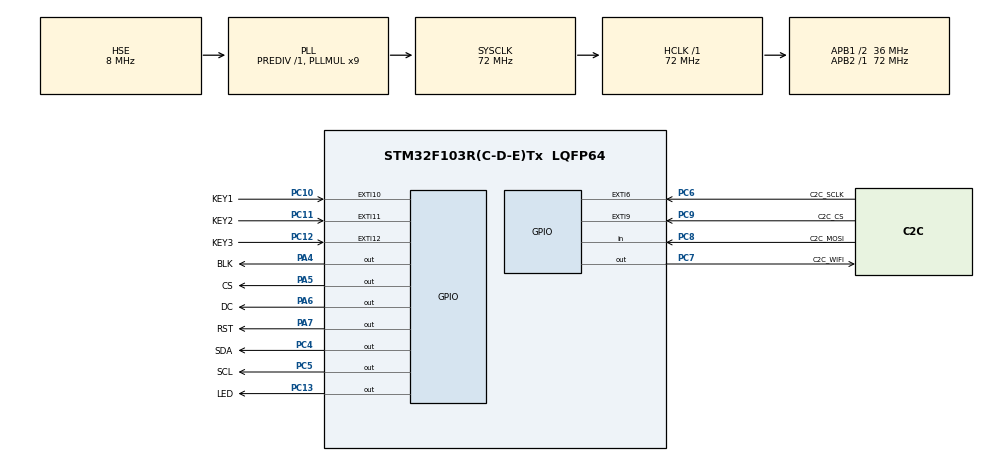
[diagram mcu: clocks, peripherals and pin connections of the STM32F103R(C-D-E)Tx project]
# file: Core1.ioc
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FREERTOS.Mutexes01=LCDMutex,Dynamic,NULL
FREERTOS.Tasks01=DebugTask,24,128,StartDebugTask,Default,NULL,Dynamic,NULL,NULL;InterfaceTask,24,128,StartInterfaceTask,Default,NULL,Dynamic,NULL,NULL;MenuTask,24,128,StartMenuTask,Default,NULL,Dynamic,NULL,NULL;ECGTask,24,128,StartECGTask,Default,NULL,Static,ECGTaskBuffer,ECGTaskControlBlock;WifiTask,24,128,StartWifiTask,Default,NULL,Static,WifiTaskBuffer,WifiTaskControlBlock;SettingTask,24,128,StartSettingTask,Default,NULL,Static,SettingTaskBuffer,SettingTaskControlBlock
Mcu.Family=STM32F1
Mcu.Name=STM32F103R(C-D-E)Tx
Mcu.Package=LQFP64
NVIC.EXTI15_10_IRQn=true\:5\:0\:false\:false\:true\:true\:true\:true\:true
NVIC.EXTI9_5_IRQn=true\:5\:0\:false\:false\:true\:true\:true\:true\:true
NVIC.PriorityGroup=NVIC_PRIORITYGROUP_4
NVIC.TIM6_IRQn=true\:15\:0\:false\:false\:true\:false\:false\:true\:true
NVIC.TimeBase=TIM6_IRQn
NVIC.TimeBaseIP=TIM6
PA0-WKUP.Mode=SYS_WakeUp0
PA0-WKUP.Signal=SYS_WKUP
PA13.Mode=Serial_Wire
PA13.Signal=SYS_JTMS-SWDIO
PA14.Mode=Serial_Wire
PA14.Signal=SYS_JTCK-SWCLK
PA4.GPIO_Label=BLK
PA4.GPIO_Speed=GPIO_SPEED_FREQ_HIGH
PA4.Signal=GPIO_Output
PA5.GPIO_Label=CS
PA5.GPIO_Speed=GPIO_SPEED_FREQ_HIGH
PA5.Signal=GPIO_Output
PA6.GPIO_Label=DC
PA6.GPIO_Speed=GPIO_SPEED_FREQ_HIGH
PA6.Signal=GPIO_Output
PA7.GPIO_Label=RST
PA7.GPIO_Speed=GPIO_SPEED_FREQ_HIGH
PA7.Signal=GPIO_Output
PC10.GPIO_Label=KEY1
PC10.GPIO_ModeDefaultEXTI=GPIO_MODE_IT_FALLING
PC10.Signal=GPXTI10
PC11.GPIO_Label=KEY2
PC11.GPIO_ModeDefaultEXTI=GPIO_MODE_IT_FALLING
PC11.Signal=GPXTI11
PC12.GPIO_Label=KEY3
PC12.GPIO_ModeDefaultEXTI=GPIO_MODE_IT_FALLING
PC12.Signal=GPXTI12
PC13-TAMPER-RTC.GPIO_Label=LED
PC13-TAMPER-RTC.GPIO_Speed=GPIO_SPEED_FREQ_HIGH
PC13-TAMPER-RTC.PinState=GPIO_PIN_RESET
PC13-TAMPER-RTC.Signal=GPIO_Output
PC4.GPIO_Label=SDA
PC4.GPIO_Speed=GPIO_SPEED_FREQ_HIGH
PC4.PinState=GPIO_PIN_RESET
PC4.Signal=GPIO_Output
PC5.GPIO_Label=SCL
PC5.GPIO_Speed=GPIO_SPEED_FREQ_HIGH
PC5.Signal=GPIO_Output
PC6.GPIO_Label=C2C_SCLK
PC6.GPIO_ModeDefaultEXTI=GPIO_MODE_IT_FALLING
PC6.Signal=GPXTI6
PC7.GPIO_Label=C2C_WIFI
PC7.GPIO_Speed=GPIO_SPEED_FREQ_HIGH
PC7.Signal=GPIO_Output
PC8.GPIO_Label=C2C_MOSI
PC8.Signal=GPIO_Input
PC9.GPIO_Label=C2C_CS
PC9.GPIO_ModeDefaultEXTI=GPIO_MODE_IT_FALLING
PC9.Signal=GPXTI9
PD0-OSC_IN.Mode=HSE-External-Oscillator
PD0-OSC_IN.Signal=RCC_OSC_IN
PD1-OSC_OUT.Mode=HSE-External-Oscillator
PD1-OSC_OUT.Signal=RCC_OSC_OUT
ProjectManager.HeapSize=0x200
ProjectManager.StackSize=0x400
ProjectManager.TargetToolchain=MDK-ARM V5.32
RCC.AHBFreq_Value=72000000
RCC.APB1CLKDivider=RCC_HCLK_DIV2
RCC.APB1Freq_Value=36000000
RCC.APB1TimFreq_Value=72000000
RCC.APB2Freq_Value=72000000
RCC.APB2TimFreq_Value=72000000
RCC.HCLKFreq_Value=72000000
RCC.PLLMUL=RCC_PLL_MUL9
RCC.PLLSourceVirtual=RCC_PLLSOURCE_HSE
RCC.SYSCLKFreq_VALUE=72000000
RCC.SYSCLKSource=RCC_SYSCLKSOURCE_PLLCLK
RCC.USBFreq_Value=72000000
VP_FREERTOS_VS_CMSIS_V2.Mode=CMSIS_V2
VP_SYS_VS_tim6.Mode=TIM6
board=custom

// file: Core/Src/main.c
/* USER CODE BEGIN Header */
/**
  ******************************************************************************
  * @file           : main.c
  * @brief          : Main program body
  ******************************************************************************
  * @attention
  *
  * Copyright (c) 2024 STMicroelectronics.
  * All rights reserved.
  *
  * This software is licensed under terms that can be found in the LICENSE file
  * in the root directory of this software component.
  * If no LICENSE file comes with this software, it is provided AS-IS.
  *
  ******************************************************************************
  */
/* USER CODE END Header */
#include "main.h"
#include "cmsis_os.h"
#include "gpio.h"

void SystemClock_Config(void);
void MX_FREERTOS_Init(void);

int main(void)
{

  /* MCU Configuration--------------------------------------------------------*/

  /* Reset of all peripherals, Initializes the Flash interface and the Systick. */
  HAL_Init();

  /* Configure the system clock */
  SystemClock_Config();

  /* Initialize all configured peripherals */
  MX_GPIO_Init();
  /* USER CODE BEGIN 2 */
  LCD_Init();
  LCD_Fill(0, 0, LCD_W, LCD_H, BLACK);

  /* USER CODE END 2 */

  /* Init scheduler */
  osKernelInitialize();

  /* Call init function for freertos objects (in freertos.c) */
  MX_FREERTOS_Init();

  /* Start scheduler */
  osKernelStart();

  /* We should never get here as control is now taken by the scheduler */
  /* Infinite loop */
  while (1)
  {

  }
}

void SystemClock_Config(void)
{
  RCC_OscInitTypeDef RCC_OscInitStruct = {0};
  RCC_ClkInitTypeDef RCC_ClkInitStruct = {0};

  /** Initializes the RCC Oscillators according to the specified parameters
  * in the RCC_OscInitTypeDef structure.
  */
  RCC_OscInitStruct.OscillatorType = RCC_OSCILLATORTYPE_HSE;
  RCC_OscInitStruct.HSEState = RCC_HSE_ON;
  RCC_OscInitStruct.HSEPredivValue = RCC_HSE_PREDIV_DIV1;
  RCC_OscInitStruct.HSIState = RCC_HSI_ON;
  RCC_OscInitStruct.PLL.PLLState = RCC_PLL_ON;
  RCC_OscInitStruct.PLL.PLLSource = RCC_PLLSOURCE_HSE;
  RCC_OscInitStruct.PLL.PLLMUL = RCC_PLL_MUL9;
  if (HAL_RCC_OscConfig(&RCC_OscInitStruct) != HAL_OK)
  {
    Error_Handler();
  }

  /** Initializes the CPU, AHB and APB buses clocks
  */
  RCC_ClkInitStruct.ClockType = RCC_CLOCKTYPE_HCLK|RCC_CLOCKTYPE_SYSCLK
                              |RCC_CLOCKTYPE_PCLK1|RCC_CLOCKTYPE_PCLK2;
  RCC_ClkInitStruct.SYSCLKSource = RCC_SYSCLKSOURCE_PLLCLK;
  RCC_ClkInitStruct.AHBCLKDivider = RCC_SYSCLK_DIV1;
  RCC_ClkInitStruct.APB1CLKDivider = RCC_HCLK_DIV2;
  RCC_ClkInitStruct.APB2CLKDivider = RCC_HCLK_DIV1;

  if (HAL_RCC_ClockConfig(&RCC_ClkInitStruct, FLASH_LATENCY_2) != HAL_OK)
  {
    Error_Handler();
  }
}

void HAL_TIM_PeriodElapsedCallback(TIM_HandleTypeDef *htim)
{
  if (htim->Instance == TIM6) {
    HAL_IncTick();
  }
}

void Error_Handler(void)
{
  __disable_irq();
  while (1)
  {
  }
}

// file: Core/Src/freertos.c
/* USER CODE BEGIN Header */
/**
 ******************************************************************************
 * File Name          : freertos.c
 * Description        : Code for freertos applications
 ******************************************************************************
 * @attention
 *
 * Copyright (c) 2024 STMicroelectronics.
 * All rights reserved.
 *
 * This software is licensed under terms that can be found in the LICENSE file
 * in the root directory of this software component.
 * If no LICENSE file comes with this software, it is provided AS-IS.
 *
 ******************************************************************************
 */
/* USER CODE END Header */

#include "FreeRTOS.h"
#include "task.h"
#include "main.h"
#include "cmsis_os.h"

/* USER CODE BEGIN Includes */
#include "queue.h"
#include "pic.h"

/* USER CODE END Includes */

typedef StaticTask_t osStaticThreadDef_t;

/* USER CODE BEGIN Variables */

/* 外部变量 */
extern uint16_t rec_data;

extern bool key1_flag;
extern bool key2_flag;
extern bool key3_flag;

// 按键是否锁住，动画播放时使按键无效
bool key_locked = false;

static uint32_t setting_color1 = BLUE;
static uint32_t setting_color2 = BLUE;

/* USER CODE END Variables */
/* Definitions for DebugTask */
osThreadId_t DebugTaskHandle;
const osThreadAttr_t DebugTask_attributes = {
  .name = "DebugTask",
  .stack_size = 128 * 4,
  .priority = (osPriority_t) osPriorityNormal,
};
/* Definitions for InterfaceTask */
osThreadId_t InterfaceTaskHandle;
const osThreadAttr_t InterfaceTask_attributes = {
  .name = "InterfaceTask",
  .stack_size = 128 * 4,
  .priority = (osPriority_t) osPriorityNormal,
};
/* Definitions for MenuTask */
osThreadId_t MenuTaskHandle;
const osThreadAttr_t MenuTask_attributes = {
  .name = "MenuTask",
  .stack_size = 128 * 4,
  .priority = (osPriority_t) osPriorityNormal,
};
/* Definitions for ECGTask */
osThreadId_t ECGTaskHandle;
uint32_t ECGTaskBuffer[ 128 ];
osStaticThreadDef_t ECGTaskControlBlock;
const osThreadAttr_t ECGTask_attributes = {
  .name = "ECGTask",
  .cb_mem = &ECGTaskControlBlock,
  .cb_size = sizeof(ECGTaskControlBlock),
  .stack_mem = &ECGTaskBuffer[0],
  .stack_size = sizeof(ECGTaskBuffer),
  .priority = (osPriority_t) osPriorityNormal,
};
/* Definitions for WifiTask */
osThreadId_t WifiTaskHandle;
uint32_t WifiTaskBuffer[ 128 ];
osStaticThreadDef_t WifiTaskControlBlock;
const osThreadAttr_t WifiTask_attributes = {
  .name = "WifiTask",
  .cb_mem = &WifiTaskControlBlock,
  .cb_size = sizeof(WifiTaskControlBlock),
  .stack_mem = &WifiTaskBuffer[0],
  .stack_size = sizeof(WifiTaskBuffer),
  .priority = (osPriority_t) osPriorityNormal,
};
/* Definitions for SettingTask */
osThreadId_t SettingTaskHandle;
uint32_t SettingTaskBuffer[ 128 ];
osStaticThreadDef_t SettingTaskControlBlock;
const osThreadAttr_t SettingTask_attributes = {
  .name = "SettingTask",
  .cb_mem = &SettingTaskControlBlock,
  .cb_size = sizeof(SettingTaskControlBlock),
  .stack_mem = &SettingTaskBuffer[0],
  .stack_size = sizeof(SettingTaskBuffer),
  .priority = (osPriority_t) osPriorityNormal,
};
/* Definitions for LCDMutex */
osMutexId_t LCDMutexHandle;
const osMutexAttr_t LCDMutex_attributes = {
  .name = "LCDMutex"
};

/* USER CODE BEGIN FunctionPrototypes */

uint32_t EasingFunction(uint32_t t);
void Decode(uint16_t rec, uint16_t *data, uint16_t *state);

/* USER CODE END FunctionPrototypes */

void StartDebugTask(void *argument);
void StartInterfaceTask(void *argument);
void StartMenuTask(void *argument);
void StartECGTask(void *argument);
void StartWifiTask(void *argument);
void StartSettingTask(void *argument);

void MX_FREERTOS_Init(void); /* (MISRA C 2004 rule 8.1) */

void MX_FREERTOS_Init(void) {
  /* Create the mutex(es) */
  /* creation of LCDMutex */
  LCDMutexHandle = osMutexNew(&LCDMutex_attributes);

  /* Create the thread(s) */
  /* creation of DebugTask */
  // DebugTaskHandle = osThreadNew(StartDebugTask, NULL, &DebugTask_attributes);

  /* creation of InterfaceTask */
  InterfaceTaskHandle = osThreadNew(StartInterfaceTask, NULL, &InterfaceTask_attributes);

  /* creation of MenuTask */
  // MenuTaskHandle = osThreadNew(StartMenuTask, NULL, &MenuTask_attributes);

  /* creation of ECGTask */
  // ECGTaskHandle = osThreadNew(StartECGTask, NULL, &ECGTask_attributes);

  /* creation of WifiTask */
  // WifiTaskHandle = osThreadNew(StartWifiTask, NULL, &WifiTask_attributes);

  /* creation of SettingTask */
  // SettingTaskHandle = osThreadNew(StartSettingTask, NULL, &SettingTask_attributes);

}

/* USER CODE BEGIN Header_StartDebugTask */
/**
  * @brief  调试任务，一般不启用
  * @param  argument: Not used
  * @retval None
  */
/* USER CODE END Header_StartDebugTask */
void StartDebugTask(void *argument)
{
  for(;;)
  {
    osDelay(1);
  }
}

/* USER CODE BEGIN Header_StartInterfaceTask */
/**
* @brief 带动画的开机界面
* @param argument: Not used
* @retval None
*/
/* USER CODE END Header_StartInterfaceTask */
void StartInterfaceTask(void *argument)
{
  /* USER CODE BEGIN StartInterfaceTask */

  // 开机动画基准坐标，-20 是可调节的y偏移量
  static uint8_t X, Y;
  X = LCD_W / 2 - GTP_W / 2;
  Y = LCD_H / 2 - GTP_H / 2 - 20;

  // 横线的厚度
  static uint8_t thick = 3;

  // 动画只播放一次的标志位
  // static bool once_flag = false;

  // 动画正在播放，锁住按键
  key_locked = true;

  bool finished_flag = false;

  /* Infinite loop */
  for(;;)
  {
    // 按中键进入
    if(key2_flag)
    {
      // 标志位置零、清屏、进入菜单任务、自杀
      key2_flag = key1_flag = key3_flag = false;
      LCD_Fill(0, 0, LCD_W, LCD_H, BLACK);
      MenuTaskHandle = osThreadNew(StartMenuTask, NULL, &MenuTask_attributes);
      vTaskDelete(NULL);
    }

    // if(!once_flag)
    if(!finished_flag)
    {
      // 第一次进入

      // 动画一阶段：画水平横线
      for(uint8_t i = 0; i < GTP_W / 2; i++)
      {
        LCD_Fill(X + GTP_W / 2 - i, Y + GTP_H, X + GTP_W / 2 + i, Y + GTP_H + thick, YELLOW);
        osDelay(i);
      }
      // 动画二阶段：升起GTP图标
      for(uint8_t i = 0; i < GTP_H; i++)
        LCD_ShowPicture(X, Y + GTP_H - i, GTP_W, i, img_GPT);

      // 动画三阶段：显示底部提示图标
      LCD_ShowPicture(LCD_W - BOTTOM_W, LCD_H - BOTTOM_H, BOTTOM_W, BOTTOM_H, img_bottom);

      finished_flag = true;
      // once_flag     = true;
      // 动画结束
      key_locked    = false;
    }
    // else
    // {
    //   // 第二次进入时不会播放动画，直接显示图标
    //   LCD_Fill(X, Y + GTP_H, X + GTP_W, Y + GTP_H + thick, YELLOW);
    //   LCD_ShowPicture(X, Y, GTP_W, GTP_H, img_GPT);
    //   LCD_ShowPicture(LCD_W - BOTTOM_W, LCD_H - BOTTOM_H, BOTTOM_W, BOTTOM_H, img_bottom);
    //   // 动画结束
    //   key_locked   = false;
    // }

    osDelay(1);
  }

  /* USER CODE END StartInterfaceTask */
}

/* USER CODE BEGIN Header_StartMenuTask */
/**
* @brief 带动画的菜单任务
* @param argument: Not used
* @retval None
*/
/* USER CODE END Header_StartMenuTask */
void StartMenuTask(void *argument)
{
  /* USER CODE BEGIN StartMenuTask */

  // 缓动函数的自变量
  static uint8_t tick = 0;
  // 缓动函数的上一次结果、本次结果
  static uint32_t last_move, move;

  // 动画一阶段和动画二阶段
  static bool is_first_stage, is_second_stage;

  // 基准坐标：(x1, x2) 中心左上；(x2, y2) 中心右上
  static uint8_t x1, y1, x2, y2;
  x1 = LCD_W / 2 - PIC_W / 2;
  y1 = LCD_H / 2 - PIC_H / 2;
  x2 = LCD_W / 2 + PIC_W / 2;
  y2 = LCD_H / 2 - PIC_H / 2;

  /* Infinite loop */
  for(;;)
  {
    // 进入
    if(!key_locked && key1_flag)
    {
      key1_flag = false;
      LCD_Fill(0, 0, LCD_W, LCD_H, BLACK);
      if(img_pointer == 0)
        ECGTaskHandle = osThreadNew(StartECGTask, NULL, &ECGTask_attributes);
      else if(img_pointer == 1)
        WifiTaskHandle = osThreadNew(StartWifiTask, NULL, &WifiTask_attributes);
      else if(img_pointer == 2)
        SettingTaskHandle = osThreadNew(StartSettingTask, NULL, &SettingTask_attributes);

      vTaskDelete(NULL);
    }

    // 下一个
    if(key2_flag)
    {
      key2_flag       = false;
      key_locked      = true;

      is_first_stage  = true;
      is_second_stage = false;
      tick = 0;
    }

    // 退出
    if(key3_flag)
    {
      // 标志位置零、清屏、进入开机界面任务、自杀
      key3_flag = false;
      LCD_Fill(0, 0, LCD_W, LCD_H, BLACK);
      InterfaceTaskHandle = osThreadNew(StartInterfaceTask, NULL, &InterfaceTask_attributes);
      vTaskDelete(NULL);
    }

    if(key_locked)
    {
      // 动画一阶段：图标从下移除
      if(is_first_stage)
      {
        last_move = EasingFunction(tick - 1);
        move      = EasingFunction(tick);

        // May overflow
        if(move <= LCD_H)
        {
          /*
            x1 = LCD_W / 2 - PIC_W / 2;
            y1 = LCD_H / 2 - PIC_H / 2;
            x2 = LCD_W / 2 + PIC_W / 2;
            y2 = LCD_H / 2 - PIC_H / 2;
          */
          LCD_Fill(x1, y1 + last_move, x2, y2 + move, BLACK);
          LCD_ShowPicture(x1, y1 + move, PIC_W, PIC_H, imgs[img_pointer]);
          tick += 1;
        }
        else
        {
          tick = 0;
          is_first_stage  = false;
          is_second_stage = true;
        }
      }
      // 动画二阶段：从上移入
      if(is_second_stage)
      {
        last_move = EasingFunction(tick - 1);
        move      = EasingFunction(tick);

        if(move + PIC_H <= LCD_H / 2)
        {
          /*
            x1 = LCD_W / 2 - PIC_W / 2;
            y1 = 0;
            x2 = LCD_W / 2 + PIC_W / 2;
            y2 = 0;
          */
          LCD_Fill(x1, 0 + last_move, x2, 0 + move, BLACK);
          LCD_ShowPicture(x1, move, PIC_W, PIC_H, imgs[img_pointer + 1]);
          tick += 1;
        }
        else
        {
          LCD_Fill(x1, last_move, x2, y2, BLACK);

          tick            = 0;
          is_first_stage  = false;
          is_second_stage = false;
          key_locked      = false;
          img_pointer     += 1;
          img_pointer     %= MENU_SUM;
        }
      }
    }
    if(!key_locked)
    {
      /*
        x1 = LCD_W / 2 - PIC_W / 2;
        y1 = LCD_H / 2 - PIC_H / 2;
      */
      LCD_ShowPicture(x1, y1, PIC_W, PIC_H, imgs[img_pointer]);
    }

    osDelay(1);
  }
  /* USER CODE END StartMenuTask */
}

void StartECGTask(void *argument)
{
  /* USER CODE BEGIN StartECGTask */
  // 导联状态
  uint16_t lead_state = false;

  // 采样数据、波形数据和心率数据
  uint16_t data, wave_data, rate_data;

  // 画线的坐标
  static uint16_t x = 1, y = 80, last_y = 80;

  // 心率初始图标
  LCD_ShowPicture(5, 120, 20, 20, img_heart);
  // 心率初始为0
  LCD_ShowIntNum(25, 120, 0, 3, CYAN, BLACK, 16);
  // 导联状态提示词
  LCD_ShowPicture(5, 5, 69, 20, img_word);
  // 初始导联状态为断开
  LCD_ShowPicture(80, 5, 20, 20, img_lead_off);

  // 显示阈值
  LCD_ShowString(75, 120, "30-150", CYAN, BLACK, 16, 0);

  /* Infinite loop */
  for(;;)
  {
    if(key3_flag)
    {
      LCD_Fill(0, 0, LCD_W, LCD_H, BLACK);
      MenuTaskHandle = osThreadNew(StartMenuTask, NULL, &MenuTask_attributes);
      key2_flag = key1_flag = key3_flag = false;
      vTaskDelete(NULL);
    }

    // 将数据解码为12数据位和1位的状态位
    Decode(rec_data, &data, &lead_state);

    // 数据位又可分为波形数据和心率数据
    if(data < 350 && data > 20)
    {
      rate_data = data;
      if(lead_state)
        LCD_ShowIntNum(25, 120, rate_data, 3, CYAN, BLACK, 16);
      else
        LCD_ShowIntNum(25, 120, 0,         3, CYAN, BLACK, 16);
    }
    else
      wave_data  = data;

    // 显示导联状态
    if(lead_state)
      LCD_ShowPicture(80, 5, 20, 20, img_lead_on);
    else
      LCD_ShowPicture(80, 5, 20, 20, img_lead_off);

    // 显示波形数据在左下角
    // LCD_ShowIntNum(0, 144, wave_data, 4, BLACK, BLACK, 16);

    // 将波形数据处理映射后显示
    y = 40 + (wave_data - 1750) * 80 / 520;
    if(y < 40)      y = 40;
    if(y > 120)     y = 120;
    if(!lead_state) y = 80;

    /* 画线，后两行起加粗作用 */
    LCD_DrawLine(x - 1, LCD_H - last_y, x,     LCD_H - y,      setting_color1);
    LCD_DrawLine(x,     LCD_H - y,      x + 1, LCD_H - last_y, setting_color1);
    LCD_DrawLine(x,     LCD_H - last_y, x + 1, LCD_H - y,      setting_color2);
    LCD_DrawLine(x + 1, LCD_H - y,      x + 2, LCD_H - last_y, setting_color2);

    // 画满一屏后清屏
    x++;
    if(x == LCD_W)
    {
      x = 1;
      LCD_Fill(0, 40, LCD_W, 120 + 1, BLACK);
    }
    last_y = y;
  }
  /* USER CODE END StartECGTask */
}

void StartWifiTask(void *argument)
{
  /* USER CODE BEGIN StartWifiTask */
  /* Infinite loop */
  for(;;)
  {
    if(key3_flag)
    {
      HAL_GPIO_WritePin(C2C_WIFI_GPIO_Port, C2C_WIFI_Pin, GPIO_PIN_RESET);
      HAL_GPIO_WritePin(LED_GPIO_Port, LED_Pin, GPIO_PIN_RESET);
      LCD_Fill(0, 0, LCD_W, LCD_H, BLACK);

      MenuTaskHandle = osThreadNew(StartMenuTask, NULL, &MenuTask_attributes);
      key2_flag = key1_flag = key3_flag = false;
      vTaskDelete(NULL);
    }

    // 显示ESP8266相关信息
    LCD_ShowString(0, 40 + 16 * 0, "WIFI:GPT", WHITE, BLACK, 16, 0);
    LCD_ShowString(0, 40 + 16 * 1, "Pwd: 12345678", WHITE, BLACK, 16, 0);
    LCD_ShowString(0, 40 + 16 * 2, "IP:  192.168.4.1", WHITE, BLACK, 16, 0);
    LCD_ShowString(0, 40 + 16 * 3, "Port:8080", WHITE, BLACK, 16, 0);

    HAL_GPIO_WritePin(LED_GPIO_Port, LED_Pin, GPIO_PIN_SET);
    HAL_GPIO_WritePin(C2C_WIFI_GPIO_Port, C2C_WIFI_Pin, GPIO_PIN_SET);

    osDelay(1);
  }
  /* USER CODE END StartWifiTask */
}

void StartSettingTask(void *argument)
{
  /* USER CODE BEGIN StartSettingTask */
  static uint16_t color_list[] = {BLUE, RED, WHITE, BRED, GREEN, YELLOW, LGRAY};

  static uint8_t p1 = 0, p21 = 0, p22 = 0;

  static uint8_t list_len = sizeof(color_list) / sizeof(uint16_t);
  /* Infinite loop */
  for(;;)
  {
    if(key3_flag)
    {
      LCD_Fill(0, 0, LCD_W, LCD_H, BLACK);
      MenuTaskHandle = osThreadNew(StartMenuTask, NULL, &MenuTask_attributes);
      key2_flag = key1_flag = key3_flag = false;
      vTaskDelete(NULL);
    }

    // 一级菜单下一个 项目
    if(key2_flag)
    {
      key2_flag = false;

      p1 = (p1 == 0 ? 1 : 0);
    }

    // 二级菜单下一个 颜色
    if(key1_flag)
    {
      key1_flag = false;

      if(p1 == 0)
      {
        p21++;
        p21 %= list_len;
        setting_color1 = color_list[p21];
      }
      else if(p1 == 1)
      {
        p22++;
        p22 %= list_len;
        setting_color2 = color_list[p22];
      }
    }

    if(p1 == 0)
    {
      Draw_Circle(4, 18 + 16 * 0, 3, BLUE);
      Draw_Circle(4, 18 + 16 * 1, 3, BLACK);
    }
    else
    {
      Draw_Circle(4, 18 + 16 * 1, 3, BLUE);
      Draw_Circle(4, 18 + 16 * 0, 3, BLACK);
    }

    LCD_ShowString(10, 10 + 0 * 16, "COLOR1:", MAGENTA, BLACK, 16, 0);

    LCD_Fill(10 + 7 * 8, 10 + 0 * 16, 10 + 7 * 8 + 16, 10 + 0 * 16 + 16, setting_color1);

    LCD_ShowString(10, 10 + 1 * 16, "COLOR2:", MAGENTA, BLACK, 16, 0);

    LCD_Fill(10 + 7 * 8, 10 + 1 * 16, 10 + 7 * 8 + 16, 10 + 1 * 16 + 16, setting_color2);

    osDelay(1);
  }
  /* USER CODE END StartSettingTask */
}

/* USER CODE BEGIN Application */

/* 三次缓动函数，用于菜单切换动画 */
uint32_t EasingFunction(uint32_t t)
{
  return t * t * t;
}

/* 数据解码为adc数据和导联状态 */
void Decode(uint16_t rec, uint16_t *data, uint16_t *state)
{
    *state = rec & 0x8000;
    *data  = rec & 0x7FFF;
}

/* USER CODE END Application */
